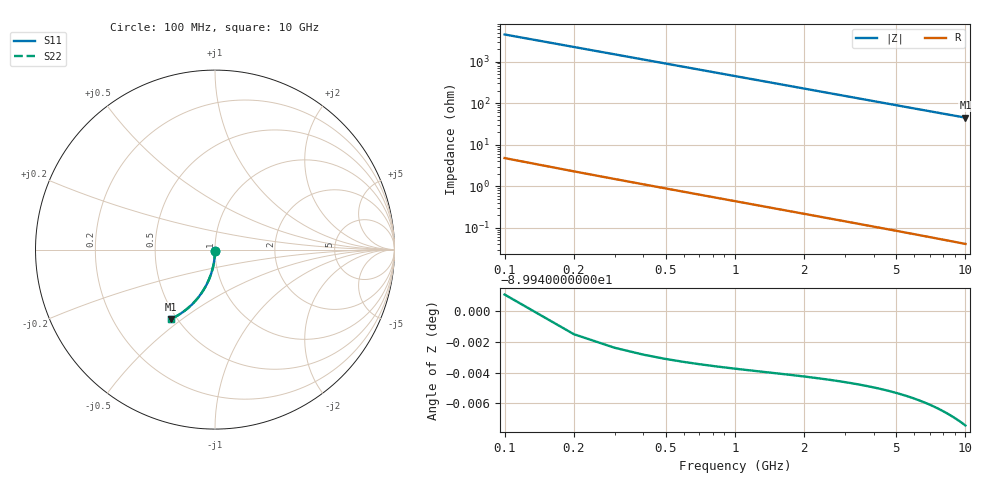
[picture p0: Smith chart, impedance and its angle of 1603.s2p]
# Hz S RI R 50.00
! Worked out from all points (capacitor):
!   100 points, 100 MHz to 10 GHz, reference 50 ohm
!   read as one part in shunt: C = 355 fF near 100 MHz
!   lowest |Z| = 45 ohm at 10 GHz (marker M1)
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1e8  7.11e-05 -0.00514  0.9999 -0.006  0.9999 -0.006  7.11e-05 -0.00514
2e8  -2.61e-05 -0.0103  0.9998 -0.012  0.9998 -0.012  -2.61e-05 -0.0103
3e8  -0.000185 -0.0154  0.9996 -0.018  0.9996 -0.018  -0.000185 -0.0154
4e8  -0.000406 -0.0206  0.9994 -0.024  0.9994 -0.024  -0.000406 -0.0206
5e8  -0.000688 -0.0257  0.9991 -0.03  0.9991 -0.03  -0.000688 -0.0257
6e8  -0.00103 -0.0308  0.9987 -0.036  0.9987 -0.036  -0.00103 -0.0308
7e8  -0.00144 -0.0359  0.9983 -0.0419  0.9983 -0.0419  -0.00144 -0.0359
8e8  -0.0019 -0.0411  0.9978 -0.0479  0.9978 -0.0479  -0.0019 -0.0411
9e8  -0.00243 -0.0462  0.9973 -0.0539  0.9973 -0.0539  -0.00243 -0.0462
1.1e9  -0.00367 -0.0564  0.9961 -0.0658  0.9961 -0.0658  -0.00367 -0.0564
1.4e9  -0.00599 -0.0716  0.9937 -0.0836  0.9937 -0.0836  -0.00599 -0.0716
1.8e9  -0.00991 -0.0917  0.9897 -0.1072  0.9897 -0.1072  -0.00991 -0.0917
2.1e9  -0.0135 -0.1066  0.9861 -0.1247  0.9861 -0.1247  -0.0135 -0.1066
2.5e9  -0.019 -0.1262  0.9805 -0.1477  0.9805 -0.1477  -0.019 -0.1262
2.9e9  -0.0255 -0.1455  0.974 -0.1704  0.974 -0.1704  -0.0255 -0.1455
3.4e9  -0.0348 -0.169  0.9645 -0.1983  0.9645 -0.1983  -0.0348 -0.169
4.2e9  -0.0523 -0.2049  0.9468 -0.2412  0.9468 -0.2412  -0.0523 -0.2049
5.1e9  -0.0755 -0.2427  0.9232 -0.2868  0.9232 -0.2868  -0.0755 -0.2427
5.9e9  -0.0989 -0.2735  0.8995 -0.3247  0.8995 -0.3247  -0.0989 -0.2735
6.7e9  -0.1244 -0.3015  0.8737 -0.3598  0.8737 -0.3598  -0.1244 -0.3015
8.4e9  -0.1837 -0.3512  0.8133 -0.4247  0.8133 -0.4247  -0.1837 -0.3512
1e10  -0.2432 -0.3858  0.7526 -0.4737  0.7526 -0.4737  -0.2432 -0.3858
